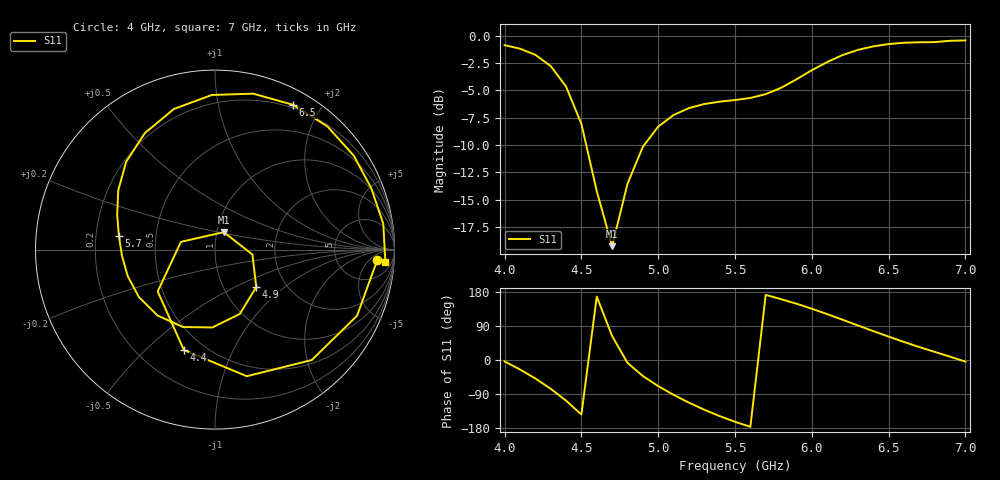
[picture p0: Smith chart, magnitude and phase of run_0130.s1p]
! Touchstone file exported from HFSS 2024.2.0
!  File:  C:/Users/wsak9/Desktop/Sim Fast/Widenad Patch/WP_AI_V1_sweep.aedt
!  Generated:  08:19:54 PM Oct 13, 2026
!  Design:  A1_model
!  Project:  WP_AI_V1_sweep
!  Setup:  Setup1
!  Solution:  Sweep
! Variables:
!  Air_gap = 3.24mm
!  Curve_Amp1 = 1.11
!  Curve_len1 = 1
!  Curve_pos = 12mm
!  Extra = 3.05mm
!  H_sub = 0.79mm
!  L_Patch = 20mm
!  L_Patch1 = 15.91mm
!  Sx = 0.61mm
!  Sy = 2.55mm
!  WS = 1.19mm
!  W_Patch = 19.11mm
!  W_Patch1 = 12.86mm
!Data is not renormalized
# GHz S MA
! Terminal data exported
! Port[1] = 1
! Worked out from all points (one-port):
!   31 points, 4 GHz to 7 GHz, reference per port
!   lowest |S11| = -19.2 dB at 4.7 GHz (marker M1), VSWR 1.24
!   |S11| at or under -10 dB: 4.531 GHz to 4.909 GHz (377 MHz wide, 7.99 % of centre)
!   S11 on the Smith chart (normalised r, x): 4 GHz: 14, -9; 4.4 GHz: 0.39, -0.66; 4.9 GHz: 1.42, -0.66; 5.7 GHz: 0.30, +0.06; 6.5 GHz: 0.17, +1.66; 7 GHz: 13, -19
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4  0.9057 -3.8
4.1  0.8729 -25.0
4.2  0.8181 -48.8
4.3  0.7273 -75.9
4.4  0.5858 -107.2
4.5  0.3952 -143.8
4.6  0.1947 167.2
4.7  0.1091 63.2
4.8  0.2103 -7.6
4.9  0.3106 -42.3
5  0.3841 -68.9
5.1  0.4341 -91.9
5.2  0.4669 -112.5
5.3  0.4874 -131.2
5.4  0.4996 -148.0
5.5  0.5083 -163.1
5.7  0.5408 171.9
5.9  0.632 148.5
6  0.696 135.3
6.1  0.7577 121.1
6.2  0.8162 106.3
6.3  0.8617 91.2
6.4  0.8944 76.3
6.5  0.9163 61.7
6.6  0.9292 47.7
6.7  0.9337 34.1
6.9  0.9486 8.7
7  0.9518 -4.2
